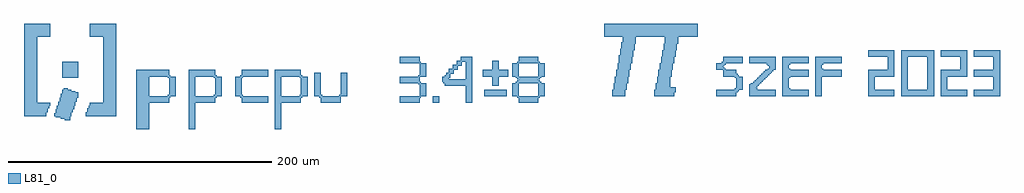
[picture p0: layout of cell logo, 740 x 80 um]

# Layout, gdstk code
import gdstk
lib = gdstk.Library(unit=1e-6, precision=1e-09)
def R(c, l, rs):  # rectangles x0, y0, x1, y1
    for r in rs: c.add(gdstk.rectangle(r[:2], r[2:], *l))
def A(c, l, x, y, w, h, nx, ny, dx, dy):  # array of equal rectangles
    R(c, l, [(x+i*dx, y+j*dy, x+i*dx+w, y+j*dy+h) for i in range(nx) for j in range(ny)])
L81_0 = (81, 0)

logo = lib.new_cell('logo')
A(logo, L81_0, 640, 25, 20, 5, 1, 3, 0, 15)
A(logo, L81_0, 695, 25, 20, 5, 1, 3, 0, 15)
A(logo, L81_0, 720, 25, 20, 5, 1, 3, 0, 15)
A(logo, L81_0, 539, 39, 6, 1, 3, 1, 18, 0)
A(logo, L81_0, 550, 50, 20, 5, 3, 1, 25, 0)
R(logo, L81_0, [(85,0,95,20), (125,0,130,20), (190,0,195,20), (31,7,35,8), (28,8,35,9), (24,9,35,10), (0,10,17,13), (23,10,36,12), (47,10,70,13), (24,12,36,13), (0,13,18,16), (24,13,37,15), (48,13,70,16), (25,15,38,18), (0,16,19,18), (49,16,70,18), (0,18,20,20), (26,18,39,21), (50,18,70,20), (0,20,10,70), (60,20,70,70), (85,20,110,24), (125,20,145,24), (165,20,185,24), (190,20,210,24), (225,20,240,24), (285,20,300,24), (310,20,315,25), (335,20,340,33), (375,20,390,24), (27,21,40,24), (28,24,41,27), (85,24,111,25), (125,24,146,25), (164,24,185,25), (190,24,211,25), (224,24,240,25), (285,24,301,25), (374,24,391,25), (85,25,95,40), (109,25,115,26), (125,25,130,40), (144,25,150,26), (160,25,166,26), (190,25,195,40), (209,25,215,26), (220,25,226,26), (239,25,245,26), (300,25,305,34), (349,25,366,30), (370,25,375,35), (390,25,395,35), (446,25,456,30), (478,25,493,28), (525,25,540,28), (550,25,570,30), (575,25,595,30), (600,25,605,40), (665,25,690,30), (110,26,115,39), (145,26,150,39), (160,26,165,39), (210,26,215,39), (220,26,225,43), (240,26,245,43), (29,27,41,28), (29,28,39,29), (478,28,494,30), (525,28,541,29), (29,29,36,30), (525,29,542,30), (30,30,33,31), (447,30,457,35), (479,30,494,32), (539,30,545,31), (550,30,556,31), (575,30,581,31), (640,30,645,40), (665,30,670,55), (685,30,690,55), (695,30,700,40), (735,30,740,40), (540,31,545,39), (550,31,555,32), (575,31,580,39), (479,32,490,35), (550,32,556,33), (319,33,340,35), (355,33,360,40), (550,33,557,34), (299,34,305,35), (551,34,558,35), (285,35,301,36), (318,35,340,36), (373,35,392,36), (448,35,458,40), (480,35,490,40), (553,35,559,36), (285,36,300,40), (317,36,340,38), (374,36,391,37), (554,36,560,37), (375,37,390,38), (555,37,561,38), (317,38,322,39), (335,38,340,51), (374,38,391,39), (556,38,562,39), (29,39,41,51), (109,39,115,40), (144,39,150,40), (160,39,166,40), (209,39,215,40), (317,39,323,40), (373,39,392,40), (85,40,111,41), (125,40,146,41), (164,40,185,41), (190,40,211,41), (299,40,305,41), (319,40,323,41), (348,40,367,45), (370,40,375,50), (390,40,395,50), (449,40,459,45), (481,40,491,45), (530,40,542,41), (558,40,564,41), (575,40,595,45), (600,40,620,45), (85,41,110,45), (125,41,145,45), (165,41,185,45), (190,41,210,45), (300,41,305,50), (320,41,323,42), (530,41,541,42), (559,41,565,42), (320,42,326,43), (530,42,540,45), (560,42,566,43), (322,43,326,45), (561,43,567,44), (562,44,568,45), (322,45,329,46), (355,45,360,52), (450,45,460,50), (482,45,492,50), (525,45,532,46), (564,45,570,46), (575,45,581,46), (600,45,606,46), (655,45,660,55), (710,45,715,55), (735,45,740,55), (325,46,329,48), (525,46,531,47), (565,46,570,48), (575,46,580,49), (600,46,605,49), (525,47,530,48), (325,48,332,49), (525,48,531,49), (564,48,570,49), (328,49,332,51), (525,49,532,50), (563,49,570,50), (575,49,581,50), (600,49,606,50), (285,50,301,51), (374,50,391,51), (451,50,461,55), (483,50,493,55), (529,50,545,51), (285,51,300,55), (328,51,340,52), (375,51,390,55), (530,51,545,55), (331,52,340,55), (451,55,462,56), (484,55,494,60), (665,55,690,60), (452,56,462,60), (452,60,463,61), (485,60,495,65), (453,61,463,65), (453,65,464,66), (486,65,496,70), (454,66,464,70), (0,70,20,80), (50,70,70,80), (440,70,511,80)])

lib.write_gds('logo.gds')
